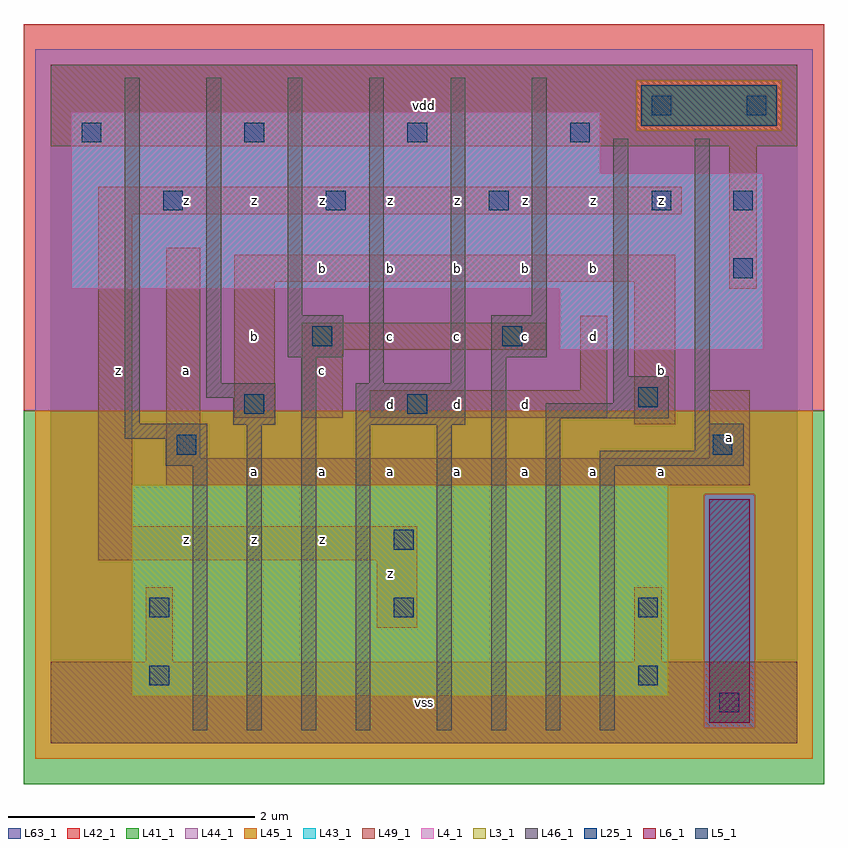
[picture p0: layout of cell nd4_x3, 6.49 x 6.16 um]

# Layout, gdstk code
import gdstk
lib = gdstk.Library(unit=1e-6, precision=1e-09)
def R(c, l, rs):  # rectangles x0, y0, x1, y1
    for r in rs: c.add(gdstk.rectangle(r[:2], r[2:], *l))
def A(c, l, x, y, w, h, nx, ny, dx, dy):  # array of equal rectangles
    R(c, l, [(x+i*dx, y+j*dy, x+i*dx+w, y+j*dy+h) for i in range(nx) for j in range(ny)])
L3_1 = (3, 1)
L4_1 = (4, 1)
L5_1 = (5, 1)
L6_1 = (6, 1)
L25_1 = (25, 1)
L41_1 = (41, 1)
L42_1 = (42, 1)
L43_1 = (43, 1)
L44_1 = (44, 1)
L45_1 = (45, 1)
L46_1 = (46, 1)
L49_1 = (49, 1)
L63_1 = (63, 1)

nd4_x3 = lib.new_cell('nd4_x3')
R(nd4_x3, L3_1, [(0.66,0.385,5.005,2.09)])
R(nd4_x3, L4_1, [(4.125,3.19,5.775,3.685), (0.165,3.685,5.775,4.62), (0.165,4.62,4.455,5.115)])
R(nd4_x3, L5_1, [(4.785,5.005,5.885,5.335)])
R(nd4_x3, L6_1, [(5.335,0.165,5.665,1.98)])
A(nd4_x3, L25_1, 0.8, 1.02, 0.16, 0.16, 3, 1, 1.98, 0)
A(nd4_x3, L25_1, 0.91, 4.32, 0.16, 0.16, 4, 1, 1.32, 0)
A(nd4_x3, L25_1, 0.25, 4.87, 0.16, 0.16, 4, 1, 1.32, 0)
R(nd4_x3, L25_1, [(5.42,0.25,5.58,0.41), (0.8,0.47,0.96,0.63), (4.76,0.47,4.92,0.63), (2.78,1.57,2.94,1.73), (1.02,2.34,1.18,2.5), (5.365,2.34,5.525,2.5), (1.57,2.67,1.73,2.83), (2.89,2.67,3.05,2.83), (4.76,2.725,4.92,2.885), (2.12,3.22,2.28,3.38), (3.66,3.22,3.82,3.38), (5.53,3.77,5.69,3.93), (5.53,4.32,5.69,4.48), (4.87,5.09,5.03,5.25), (5.64,5.09,5.8,5.25)])
R(nd4_x3, L41_1, [(-0.22,-0.33,6.27,2.695)])
R(nd4_x3, L42_1, [(-0.22,2.695,6.27,5.83)])
R(nd4_x3, L43_1, [(5.335,0.165,5.665,1.98), (0.66,0.385,5.005,2.09), (4.125,3.19,5.775,3.685), (0.165,3.685,5.775,4.62), (0.165,4.62,4.455,5.115), (4.785,5.005,5.885,5.335)])
R(nd4_x3, L44_1, [(5.295,0.125,5.705,2.02), (-0.125,2.695,6.175,4.965), (-0.125,4.965,4.745,5.375), (5.925,4.965,6.175,5.375), (-0.125,5.375,6.175,5.625)])
R(nd4_x3, L45_1, [(-0.125,-0.125,6.175,0.125), (-0.125,0.125,5.295,2.02), (5.705,0.125,6.175,2.02), (-0.125,2.02,6.175,2.695), (4.745,4.965,5.925,5.375)])
R(nd4_x3, L46_1, [(1.15,0.105,1.27,2.25), (1.59,0.105,1.71,2.58), (2.03,0.105,2.15,3.13), (2.47,0.105,2.59,2.58), (3.13,0.105,3.25,2.58), (3.57,0.105,3.69,3.13), (4.01,0.105,4.13,2.635), (4.45,0.105,4.57,2.25), (0.93,2.25,1.27,2.47), (4.45,2.25,5.615,2.37), (5.22,2.37,5.615,2.59), (0.6,2.47,1.27,2.59), (1.48,2.58,1.82,2.8), (2.47,2.58,3.36,2.92), (0.6,2.59,0.72,5.395), (5.22,2.59,5.34,4.9), (4.01,2.635,5.01,2.755), (4.56,2.755,5.01,2.975), (1.26,2.8,1.82,2.92), (1.26,2.92,1.38,5.395), (2.58,2.92,2.7,5.395), (3.24,2.92,3.36,5.395), (4.56,2.975,4.68,4.9), (1.92,3.13,2.37,3.47), (3.57,3.13,4.02,3.47), (1.92,3.47,2.04,5.395), (3.9,3.47,4.02,5.395)])
R(nd4_x3, L49_1, [(0,0,6.05,0.66), (0.77,0.66,0.99,1.265), (4.73,0.66,4.95,1.265), (2.64,0.935,2.97,1.485), (0.385,1.485,2.97,1.76), (0.385,1.76,0.66,4.29), (0.935,2.09,5.665,2.31), (0.935,2.31,1.21,4.015), (5.335,2.31,5.665,2.86), (4.73,2.585,5.06,3.74), (1.485,2.64,1.815,3.74), (2.035,2.64,2.365,3.19), (2.585,2.64,4.51,2.86), (4.29,2.86,4.51,3.465), (2.035,3.19,4.015,3.41), (5.5,3.685,5.72,4.84), (1.485,3.74,5.06,3.96), (0.385,4.29,5.115,4.51), (0,4.84,6.05,5.5)])
R(nd4_x3, L63_1, [(0,0,6.05,5.5)])
nd4_x3.add(gdstk.Label('z', (0.55,3.025), layer=49, texttype=1))
nd4_x3.add(gdstk.Label('z', (0.55,3.025), layer=49, texttype=1))
nd4_x3.add(gdstk.Label('z', (1.1,1.65), layer=49, texttype=1))
nd4_x3.add(gdstk.Label('z', (1.1,1.65), layer=49, texttype=1))
nd4_x3.add(gdstk.Label('z', (1.65,1.65), layer=49, texttype=1))
nd4_x3.add(gdstk.Label('z', (1.65,1.65), layer=49, texttype=1))
nd4_x3.add(gdstk.Label('a', (1.65,2.2), layer=49, texttype=1))
nd4_x3.add(gdstk.Label('a', (1.65,2.2), layer=49, texttype=1))
nd4_x3.add(gdstk.Label('a', (1.1,3.025), layer=49, texttype=1))
nd4_x3.add(gdstk.Label('a', (1.1,3.025), layer=49, texttype=1))
nd4_x3.add(gdstk.Label('b', (1.65,3.3), layer=49, texttype=1))
nd4_x3.add(gdstk.Label('b', (1.65,3.3), layer=49, texttype=1))
nd4_x3.add(gdstk.Label('z', (1.1,4.4), layer=49, texttype=1))
nd4_x3.add(gdstk.Label('z', (1.1,4.4), layer=49, texttype=1))
nd4_x3.add(gdstk.Label('z', (1.65,4.4), layer=49, texttype=1))
nd4_x3.add(gdstk.Label('z', (1.65,4.4), layer=49, texttype=1))
nd4_x3.add(gdstk.Label('z', (2.2,1.65), layer=49, texttype=1))
nd4_x3.add(gdstk.Label('z', (2.2,1.65), layer=49, texttype=1))
nd4_x3.add(gdstk.Label('z', (2.75,1.375), layer=49, texttype=1))
nd4_x3.add(gdstk.Label('z', (2.75,1.375), layer=49, texttype=1))
nd4_x3.add(gdstk.Label('a', (2.2,2.2), layer=49, texttype=1))
nd4_x3.add(gdstk.Label('a', (2.2,2.2), layer=49, texttype=1))
nd4_x3.add(gdstk.Label('a', (2.75,2.2), layer=49, texttype=1))
nd4_x3.add(gdstk.Label('a', (2.75,2.2), layer=49, texttype=1))
nd4_x3.add(gdstk.Label('d', (2.75,2.75), layer=49, texttype=1))
nd4_x3.add(gdstk.Label('d', (2.75,2.75), layer=49, texttype=1))
nd4_x3.add(gdstk.Label('c', (2.2,3.025), layer=49, texttype=1))
nd4_x3.add(gdstk.Label('c', (2.2,3.025), layer=49, texttype=1))
nd4_x3.add(gdstk.Label('c', (2.75,3.3), layer=49, texttype=1))
nd4_x3.add(gdstk.Label('c', (2.75,3.3), layer=49, texttype=1))
nd4_x3.add(gdstk.Label('b', (2.75,3.85), layer=49, texttype=1))
nd4_x3.add(gdstk.Label('b', (2.75,3.85), layer=49, texttype=1))
nd4_x3.add(gdstk.Label('b', (2.2,3.85), layer=49, texttype=1))
nd4_x3.add(gdstk.Label('b', (2.2,3.85), layer=49, texttype=1))
nd4_x3.add(gdstk.Label('z', (2.2,4.4), layer=49, texttype=1))
nd4_x3.add(gdstk.Label('z', (2.2,4.4), layer=49, texttype=1))
nd4_x3.add(gdstk.Label('z', (2.75,4.4), layer=49, texttype=1))
nd4_x3.add(gdstk.Label('z', (2.75,4.4), layer=49, texttype=1))
nd4_x3.add(gdstk.Label('vss', (3.025,0.33), layer=49, texttype=1))
nd4_x3.add(gdstk.Label('vss', (3.025,0.33), layer=49, texttype=1))
nd4_x3.add(gdstk.Label('a', (3.3,2.2), layer=49, texttype=1))
nd4_x3.add(gdstk.Label('a', (3.85,2.2), layer=49, texttype=1))
nd4_x3.add(gdstk.Label('a', (3.85,2.2), layer=49, texttype=1))
nd4_x3.add(gdstk.Label('a', (3.3,2.2), layer=49, texttype=1))
nd4_x3.add(gdstk.Label('d', (3.3,2.75), layer=49, texttype=1))
nd4_x3.add(gdstk.Label('d', (3.85,2.75), layer=49, texttype=1))
nd4_x3.add(gdstk.Label('d', (3.85,2.75), layer=49, texttype=1))
nd4_x3.add(gdstk.Label('d', (3.3,2.75), layer=49, texttype=1))
nd4_x3.add(gdstk.Label('c', (3.3,3.3), layer=49, texttype=1))
nd4_x3.add(gdstk.Label('c', (3.85,3.3), layer=49, texttype=1))
nd4_x3.add(gdstk.Label('c', (3.85,3.3), layer=49, texttype=1))
nd4_x3.add(gdstk.Label('c', (3.3,3.3), layer=49, texttype=1))
nd4_x3.add(gdstk.Label('b', (3.3,3.85), layer=49, texttype=1))
nd4_x3.add(gdstk.Label('b', (3.85,3.85), layer=49, texttype=1))
nd4_x3.add(gdstk.Label('b', (3.85,3.85), layer=49, texttype=1))
nd4_x3.add(gdstk.Label('b', (3.3,3.85), layer=49, texttype=1))
nd4_x3.add(gdstk.Label('z', (3.3,4.4), layer=49, texttype=1))
nd4_x3.add(gdstk.Label('z', (3.85,4.4), layer=49, texttype=1))
nd4_x3.add(gdstk.Label('z', (3.85,4.4), layer=49, texttype=1))
nd4_x3.add(gdstk.Label('z', (3.3,4.4), layer=49, texttype=1))
nd4_x3.add(gdstk.Label('vdd', (3.025,5.17), layer=49, texttype=1))
nd4_x3.add(gdstk.Label('vdd', (3.025,5.17), layer=49, texttype=1))
nd4_x3.add(gdstk.Label('a', (4.95,2.2), layer=49, texttype=1))
nd4_x3.add(gdstk.Label('a', (4.4,2.2), layer=49, texttype=1))
nd4_x3.add(gdstk.Label('a', (4.95,2.2), layer=49, texttype=1))
nd4_x3.add(gdstk.Label('a', (4.4,2.2), layer=49, texttype=1))
nd4_x3.add(gdstk.Label('b', (4.95,3.025), layer=49, texttype=1))
nd4_x3.add(gdstk.Label('d', (4.4,3.3), layer=49, texttype=1))
nd4_x3.add(gdstk.Label('b', (4.95,3.025), layer=49, texttype=1))
nd4_x3.add(gdstk.Label('d', (4.4,3.3), layer=49, texttype=1))
nd4_x3.add(gdstk.Label('b', (4.4,3.85), layer=49, texttype=1))
nd4_x3.add(gdstk.Label('b', (4.4,3.85), layer=49, texttype=1))
nd4_x3.add(gdstk.Label('z', (4.95,4.4), layer=49, texttype=1))
nd4_x3.add(gdstk.Label('z', (4.4,4.4), layer=49, texttype=1))
nd4_x3.add(gdstk.Label('z', (4.95,4.4), layer=49, texttype=1))
nd4_x3.add(gdstk.Label('z', (4.4,4.4), layer=49, texttype=1))
nd4_x3.add(gdstk.Label('a', (5.5,2.475), layer=49, texttype=1))
nd4_x3.add(gdstk.Label('a', (5.5,2.475), layer=49, texttype=1))

lib.write_gds('nd4_x3.gds')
